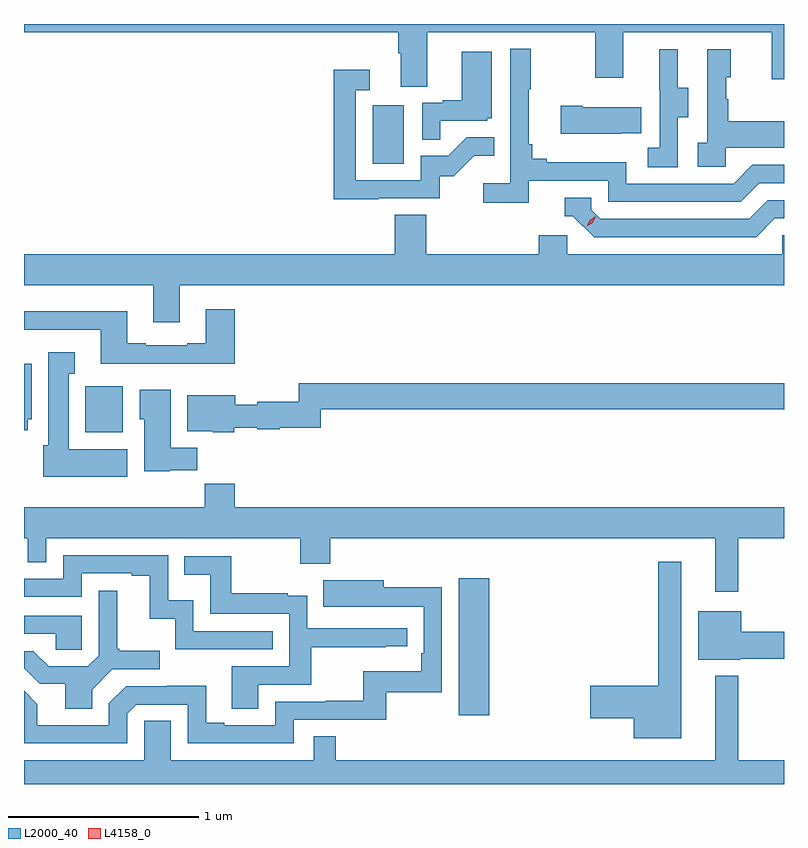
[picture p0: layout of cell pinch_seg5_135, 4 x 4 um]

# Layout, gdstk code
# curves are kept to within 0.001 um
import gdstk
lib = gdstk.Library(unit=1e-6, precision=1e-09)
def R(c, l, rs):  # rectangles x0, y0, x1, y1
    for r in rs: c.add(gdstk.rectangle(r[:2], r[2:], *l))
def P(c, l, *ps):  # polygons
    for p in ps: c.add(gdstk.Polygon(p, *l))
L2000_40 = (2000, 40)
L4158_0 = (4158, 0)

pinch_seg5_135 = lib.new_cell('pinch_seg5_135')
R(pinch_seg5_135, L2000_40, [(1060.655,890.46,1060.816,891.181), (1058.69,891.95,1058.887,892.192), (1060.202,893.364,1060.366,893.671)])
P(pinch_seg5_135, L2000_40, [(1060.489,894.056),(1061.374,894.056),(1061.374,893.817),(1061.521,893.817),(1061.521,894.056),(1062.302,894.056),(1062.302,893.808),(1062.367,893.808),(1062.367,894.099),(1058.367,894.099),(1058.367,894.056),(1060.337,894.056),(1060.337,893.944),(1060.349,893.944),(1060.349,893.77),(1060.489,893.77)],
  [(1061.024,893.274),(1061.442,893.274),(1061.442,893.163),(1062.139,893.163),(1062.238,893.262),(1062.367,893.262),(1062.367,893.358),(1062.201,893.358),(1062.102,893.259),(1061.538,893.259),(1061.538,893.371),(1061.119,893.371),(1061.119,893.39),(1061.042,893.39),(1061.042,893.467),(1061.023,893.467),(1061.023,893.755),(1061.035,893.755),(1061.035,893.968),(1060.926,893.968),(1060.926,893.26),(1060.785,893.26),(1060.785,893.158),(1061.024,893.158)],
  [(1061.808,893.608),(1061.863,893.608),(1061.863,893.763),(1061.809,893.763),(1061.809,893.965),(1061.711,893.965),(1061.711,893.751),(1061.712,893.751),(1061.712,893.447),(1061.649,893.447),(1061.649,893.344),(1061.808,893.344)],
  [(1062.06,893.447),(1062.367,893.447),(1062.367,893.587),(1062.073,893.587),(1062.073,893.702),(1062.063,893.702),(1062.063,893.82),(1062.088,893.82),(1062.088,893.965),(1061.964,893.965),(1061.964,893.474),(1061.913,893.474),(1061.913,893.349),(1062.06,893.349)],
  [(1060.559,893.589),(1060.806,893.589),(1060.806,893.604),(1060.828,893.604),(1060.828,893.953),(1060.67,893.953),(1060.67,893.698),(1060.571,893.698),(1060.571,893.685),(1060.464,893.685),(1060.464,893.491),(1060.559,893.491)],
  [(1060.235,893.181),(1060.554,893.181),(1060.554,893.298),(1060.63,893.298),(1060.737,893.405),(1060.841,893.405),(1060.841,893.504),(1060.697,893.504),(1060.599,893.406),(1060.455,893.406),(1060.455,893.277),(1060.113,893.277),(1060.113,893.751),(1060.186,893.751),(1060.186,893.857),(1059.997,893.857),(1059.997,893.176),(1060.235,893.176)],
  [(1061.507,893.525),(1061.615,893.525),(1061.615,893.662),(1061.305,893.662),(1061.305,893.67),(1061.193,893.67),(1061.193,893.522),(1061.507,893.522)],
  [(1062.319,893.076),(1062.367,893.076),(1062.367,893.172),(1062.282,893.172),(1062.183,893.073),(1061.4,893.073),(1061.352,893.121),(1061.352,893.184),(1061.213,893.184),(1061.213,893.088),(1061.256,893.088),(1061.367,892.977),(1062.22,892.977)],
  [(1059.187,892.724),(1062.367,892.724),(1062.367,892.986),(1062.357,892.986),(1062.357,892.888),(1061.226,892.888),(1061.226,892.986),(1061.075,892.986),(1061.075,892.888),(1060.484,892.888),(1060.484,893.096),(1060.319,893.096),(1060.319,892.888),(1058.367,892.888),(1058.367,892.724),(1059.047,892.724),(1059.047,892.53),(1059.187,892.53)],
  [(1059.476,892.597),(1059.323,892.597),(1059.323,892.42),(1059.227,892.42),(1059.227,892.407),(1059.007,892.407),(1059.007,892.42),(1058.911,892.42),(1058.911,892.588),(1058.367,892.588),(1058.367,892.491),(1058.771,892.491),(1058.771,892.31),(1059.476,892.31)],
  [(1058.911,891.862),(1058.602,891.862),(1058.602,892.259),(1058.635,892.259),(1058.635,892.372),(1058.495,892.372),(1058.495,891.882),(1058.468,891.882),(1058.468,891.716),(1058.911,891.716)],
  [(1058.386,892.02),(1058.407,892.02),(1058.407,892.312),(1058.367,892.312),(1058.367,891.96),(1058.386,891.96)],
  [(1059.474,891.974),(1059.594,891.974),(1059.594,891.967),(1059.714,891.967),(1059.714,891.975),(1059.929,891.975),(1059.929,892.072),(1062.367,892.072),(1062.367,892.208),(1059.813,892.208),(1059.813,892.111),(1059.594,892.111),(1059.594,892.096),(1059.478,892.096),(1059.478,892.144),(1059.227,892.144),(1059.227,891.956),(1059.36,891.956),(1059.36,891.95),(1059.474,891.95)],
  [(1059.135,891.75),(1059.278,891.75),(1059.278,891.868),(1059.139,891.868),(1059.139,892.174),(1058.975,892.174),(1058.975,892.02),(1058.999,892.02),(1058.999,891.746),(1059.135,891.746)],
  [(1062.127,891.392),(1062.367,891.392),(1062.367,891.556),(1059.476,891.556),(1059.476,891.68),(1059.319,891.68),(1059.319,891.556),(1058.367,891.556),(1058.367,891.392),(1058.388,891.392),(1058.388,891.265),(1058.484,891.265),(1058.484,891.392),(1059.82,891.392),(1059.82,891.257),(1059.98,891.257),(1059.98,891.392),(1062.005,891.392),(1062.005,891.111),(1062.127,891.111)],
  [(1059.677,890.904),(1059.258,890.904),(1059.258,891.067),(1059.126,891.067),(1059.126,891.303),(1058.574,891.303),(1058.574,891.18),(1058.367,891.18),(1058.367,891.084),(1058.67,891.084),(1058.67,891.207),(1058.933,891.207),(1058.933,891.195),(1059.029,891.195),(1059.029,890.969),(1059.162,890.969),(1059.162,890.808),(1059.677,890.808)],
  [(1059.601,890.622),(1059.878,890.622),(1059.878,890.818),(1060.271,890.818),(1060.271,890.823),(1060.384,890.823),(1060.384,890.919),(1059.858,890.919),(1059.858,891.091),(1059.755,891.091),(1059.755,891.103),(1059.457,891.103),(1059.457,891.297),(1059.211,891.297),(1059.211,891.2),(1059.346,891.2),(1059.346,890.994),(1059.762,890.994),(1059.762,890.718),(1059.461,890.718),(1059.461,890.494),(1059.601,890.494)],
  [(1061.827,891.268),(1061.706,891.268),(1061.706,890.615),(1061.346,890.615),(1061.346,890.444),(1061.576,890.444),(1061.576,890.339),(1061.827,890.339)],
  [(1058.91,890.469),(1058.958,890.517),(1059.228,890.517),(1059.228,890.313),(1059.786,890.313),(1059.786,890.436),(1060.273,890.436),(1060.273,890.583),(1060.566,890.583),(1060.566,891.134),(1060.261,891.134),(1060.261,891.172),(1059.943,891.172),(1059.943,891.032),(1060.47,891.033),(1060.47,890.788),(1060.457,890.788),(1060.457,890.692),(1060.152,890.692),(1060.152,890.537),(1059.955,890.537),(1059.955,890.532),(1059.69,890.532),(1059.69,890.409),(1059.421,890.409),(1059.421,890.422),(1059.325,890.422),(1059.325,890.615),(1059.12,890.615),(1059.12,890.613),(1058.904,890.613),(1058.814,890.523),(1058.814,890.409),(1058.437,890.409),(1058.437,890.519),(1058.367,890.589),(1058.367,890.313),(1058.91,890.313)],
  [(1058.725,890.596),(1058.832,890.703),(1059.082,890.703),(1059.082,890.8),(1058.869,890.8),(1058.869,890.812),(1058.857,890.812),(1058.857,891.115),(1058.76,891.115),(1058.76,890.775),(1058.703,890.718),(1058.497,890.718),(1058.416,890.799),(1058.367,890.799),(1058.367,890.706),(1058.37,890.706),(1058.45,890.626),(1058.585,890.626),(1058.585,890.494),(1058.725,890.494)],
  [(1062.138,890.759),(1062.367,890.759),(1062.367,890.901),(1062.142,890.901),(1062.142,891.007),(1061.915,891.007),(1061.915,890.753),(1062.138,890.753)],
  [(1058.67,890.985),(1058.367,890.985),(1058.367,890.889),(1058.533,890.889),(1058.533,890.805),(1058.67,890.805)],
  [(1062.367,890.224),(1062.127,890.224),(1062.127,890.668),(1062.005,890.668),(1062.005,890.224),(1060.007,890.224),(1060.007,890.351),(1059.891,890.351),(1059.891,890.224),(1059.139,890.224),(1059.139,890.432),(1059,890.432),(1059,890.224),(1058.367,890.224),(1058.367,890.099),(1062.367,890.099)])
P(pinch_seg5_135, L4158_0, [(1061.33,893.034),(1061.33,893.034),(1061.345,893.067),(1061.376,893.087),(1061.376,893.087),(1061.376,893.087),(1061.36,893.054),(1061.33,893.034)])

lib.write_gds('pinch_seg5_135.gds')
